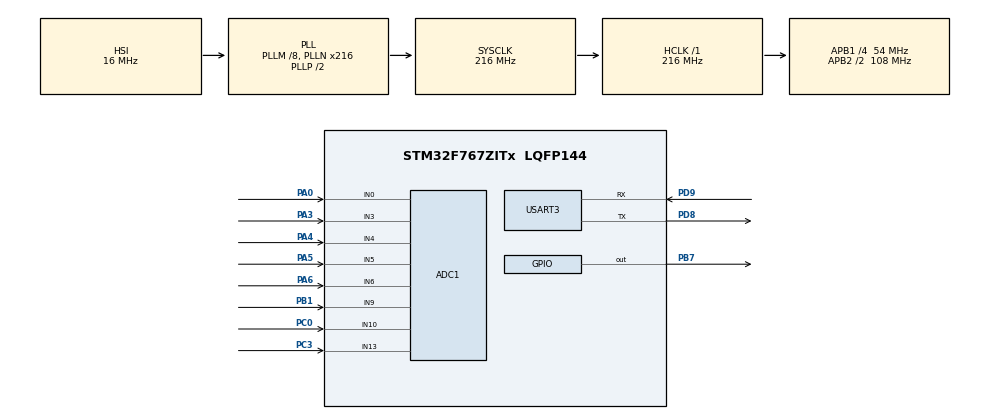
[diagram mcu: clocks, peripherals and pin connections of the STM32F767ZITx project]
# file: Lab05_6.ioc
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ADC1.Channel-0\#ChannelRegularConversion=ADC_CHANNEL_0
ADC1.Channel-1\#ChannelRegularConversion=ADC_CHANNEL_3
ADC1.Channel-2\#ChannelRegularConversion=ADC_CHANNEL_4
ADC1.Channel-3\#ChannelRegularConversion=ADC_CHANNEL_5
ADC1.Channel-4\#ChannelRegularConversion=ADC_CHANNEL_6
ADC1.Channel-5\#ChannelRegularConversion=ADC_CHANNEL_9
ADC1.Channel-6\#ChannelRegularConversion=ADC_CHANNEL_10
ADC1.Channel-7\#ChannelRegularConversion=ADC_CHANNEL_13
ADC1.ClockPrescaler=ADC_CLOCK_SYNC_PCLK_DIV8
ADC1.ContinuousConvMode=ENABLE
ADC1.DMAContinuousRequests=ENABLE
ADC1.DiscontinuousConvMode=DISABLE
ADC1.EOCSelection=ADC_EOC_SINGLE_CONV
ADC1.NbrOfConversion=8
ADC1.NbrOfConversionFlag=1
ADC1.Rank-0\#ChannelRegularConversion=1
ADC1.Rank-1\#ChannelRegularConversion=2
ADC1.Rank-2\#ChannelRegularConversion=3
ADC1.Rank-3\#ChannelRegularConversion=4
ADC1.Rank-4\#ChannelRegularConversion=5
ADC1.Rank-5\#ChannelRegularConversion=6
ADC1.Rank-6\#ChannelRegularConversion=7
ADC1.Rank-7\#ChannelRegularConversion=8
ADC1.SamplingTime-0\#ChannelRegularConversion=ADC_SAMPLETIME_15CYCLES
ADC1.SamplingTime-1\#ChannelRegularConversion=ADC_SAMPLETIME_15CYCLES
ADC1.SamplingTime-2\#ChannelRegularConversion=ADC_SAMPLETIME_15CYCLES
ADC1.SamplingTime-3\#ChannelRegularConversion=ADC_SAMPLETIME_15CYCLES
ADC1.SamplingTime-4\#ChannelRegularConversion=ADC_SAMPLETIME_15CYCLES
ADC1.SamplingTime-5\#ChannelRegularConversion=ADC_SAMPLETIME_15CYCLES
ADC1.SamplingTime-6\#ChannelRegularConversion=ADC_SAMPLETIME_15CYCLES
ADC1.SamplingTime-7\#ChannelRegularConversion=ADC_SAMPLETIME_15CYCLES
ADC1.ScanConvMode=ADC_SCAN_ENABLE
ADC1.master=1
Dma.ADC1.0.Direction=DMA_PERIPH_TO_MEMORY
Dma.ADC1.0.FIFOMode=DMA_FIFOMODE_DISABLE
Dma.ADC1.0.Instance=DMA2_Stream0
Dma.ADC1.0.MemDataAlignment=DMA_MDATAALIGN_WORD
Dma.ADC1.0.MemInc=DMA_MINC_ENABLE
Dma.ADC1.0.Mode=DMA_CIRCULAR
Dma.ADC1.0.PeriphDataAlignment=DMA_PDATAALIGN_WORD
Dma.ADC1.0.PeriphInc=DMA_PINC_DISABLE
Dma.ADC1.0.Priority=DMA_PRIORITY_LOW
Dma.Request0=ADC1
Mcu.Family=STM32F7
Mcu.Name=STM32F767ZITx
Mcu.Package=LQFP144
NVIC.DMA2_Stream0_IRQn=true\:1\:0\:true\:false\:true\:false\:true\:true
NVIC.PriorityGroup=NVIC_PRIORITYGROUP_2
PA0/WKUP.Signal=ADCx_IN0
PA3.Signal=ADCx_IN3
PA4.Signal=ADCx_IN4
PA5.Signal=ADCx_IN5
PA6.Signal=ADCx_IN6
PB1.Signal=ADCx_IN9
PB7.Signal=GPIO_Output
PC0.Signal=ADCx_IN10
PC3.Signal=ADCx_IN13
PD8.Mode=Asynchronous
PD8.Signal=USART3_TX
PD9.Mode=Asynchronous
PD9.Signal=USART3_RX
ProjectManager.HeapSize=0x200
ProjectManager.StackSize=0x400
ProjectManager.TargetToolchain=STM32CubeIDE
RCC.AHBFreq_Value=216000000
RCC.APB1CLKDivider=RCC_HCLK_DIV4
RCC.APB1Freq_Value=54000000
RCC.APB1TimFreq_Value=108000000
RCC.APB2CLKDivider=RCC_HCLK_DIV2
RCC.APB2Freq_Value=108000000
RCC.APB2TimFreq_Value=216000000
RCC.CortexFreq_Value=216000000
RCC.HCLKFreq_Value=216000000
RCC.HSE_VALUE=25000000
RCC.HSI_VALUE=16000000
RCC.LSE_VALUE=32768
RCC.PLLM=8
RCC.PLLN=216
RCC.SYSCLKFreq_VALUE=216000000
RCC.SYSCLKSource=RCC_SYSCLKSOURCE_PLLCLK
RCC.USBFreq_Value=216000000
RCC.VCOOutputFreq_Value=432000000
SH.ADCx_IN0.0=ADC1_IN0,IN0
SH.ADCx_IN10.0=ADC1_IN10,IN10
SH.ADCx_IN13.0=ADC1_IN13,IN13
SH.ADCx_IN3.0=ADC1_IN3,IN3
SH.ADCx_IN4.0=ADC1_IN4,IN4
SH.ADCx_IN5.0=ADC1_IN5,IN5
SH.ADCx_IN6.0=ADC1_IN6,IN6
SH.ADCx_IN9.0=ADC1_IN9,IN9
USART3.VirtualMode-Asynchronous=VM_ASYNC
board=custom

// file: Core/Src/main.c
/* USER CODE BEGIN Header */
/**
  ******************************************************************************
  * @file           : main.c
  * @brief          : Main program body
  ******************************************************************************
  * @attention
  *
  * Copyright (c) 2022 STMicroelectronics.
  * All rights reserved.
  *
  * This software is licensed under terms that can be found in the LICENSE file
  * in the root directory of this software component.
  * If no LICENSE file comes with this software, it is provided AS-IS.
  *
  ******************************************************************************
  */
/* USER CODE END Header */
#include "main.h"
#include "adc.h"
#include "dma.h"
#include "usart.h"
#include "gpio.h"

/* USER CODE BEGIN Includes */
#include "stdio.h"
#include "string.h"
/* USER CODE END Includes */

/* USER CODE BEGIN PV */
volatile uint32_t adc_val[8];

char output[]="a";

uint8_t i=0;

float vin;
char vin1[]="a";
char strCh[]="a";

uint8_t ch[]={0,3,4,5,6,9,10,13};
/* USER CODE END PV */

void SystemClock_Config(void);
/* USER CODE BEGIN PFP */
void displayHEX(uint32_t x,uint8_t i);
void HAL_ADC_ConvHalfCpltCallback(ADC_HandleTypeDef* hadc);
void HAL_ADC_ConvCpltCallback(ADC_HandleTypeDef* hadc);

/* USER CODE END PFP */

int main(void)
{

  /* MCU Configuration--------------------------------------------------------*/

  /* Reset of all peripherals, Initializes the Flash interface and the Systick. */
  HAL_Init();

  /* Configure the system clock */
  SystemClock_Config();

  /* Initialize all configured peripherals */
  MX_GPIO_Init();
  MX_USART3_UART_Init();
  MX_DMA_Init();
  MX_ADC1_Init();
  /* USER CODE BEGIN 2 */
  HAL_ADC_Start_DMA(&hadc1, adc_val, 8);
  /* USER CODE END 2 */

  /* Infinite loop */
  while (1)
  {

  }
}

void SystemClock_Config(void)
{
  RCC_OscInitTypeDef RCC_OscInitStruct = {0};
  RCC_ClkInitTypeDef RCC_ClkInitStruct = {0};

  /** Configure the main internal regulator output voltage
  */
  __HAL_RCC_PWR_CLK_ENABLE();
  __HAL_PWR_VOLTAGESCALING_CONFIG(PWR_REGULATOR_VOLTAGE_SCALE1);

  /** Initializes the RCC Oscillators according to the specified parameters
  * in the RCC_OscInitTypeDef structure.
  */
  RCC_OscInitStruct.OscillatorType = RCC_OSCILLATORTYPE_HSI;
  RCC_OscInitStruct.HSIState = RCC_HSI_ON;
  RCC_OscInitStruct.HSICalibrationValue = RCC_HSICALIBRATION_DEFAULT;
  RCC_OscInitStruct.PLL.PLLState = RCC_PLL_ON;
  RCC_OscInitStruct.PLL.PLLSource = RCC_PLLSOURCE_HSI;
  RCC_OscInitStruct.PLL.PLLM = 8;
  RCC_OscInitStruct.PLL.PLLN = 216;
  RCC_OscInitStruct.PLL.PLLP = RCC_PLLP_DIV2;
  RCC_OscInitStruct.PLL.PLLQ = 2;
  RCC_OscInitStruct.PLL.PLLR = 2;
  if (HAL_RCC_OscConfig(&RCC_OscInitStruct) != HAL_OK)
  {
    Error_Handler();
  }

  /** Activate the Over-Drive mode
  */
  if (HAL_PWREx_EnableOverDrive() != HAL_OK)
  {
    Error_Handler();
  }

  /** Initializes the CPU, AHB and APB buses clocks
  */
  RCC_ClkInitStruct.ClockType = RCC_CLOCKTYPE_HCLK|RCC_CLOCKTYPE_SYSCLK
                              |RCC_CLOCKTYPE_PCLK1|RCC_CLOCKTYPE_PCLK2;
  RCC_ClkInitStruct.SYSCLKSource = RCC_SYSCLKSOURCE_PLLCLK;
  RCC_ClkInitStruct.AHBCLKDivider = RCC_SYSCLK_DIV1;
  RCC_ClkInitStruct.APB1CLKDivider = RCC_HCLK_DIV4;
  RCC_ClkInitStruct.APB2CLKDivider = RCC_HCLK_DIV2;

  if (HAL_RCC_ClockConfig(&RCC_ClkInitStruct, FLASH_LATENCY_7) != HAL_OK)
  {
    Error_Handler();
  }
}

/* USER CODE BEGIN 4 */
void HAL_ADC_ConvHalfCpltCallback(ADC_HandleTypeDef* hadc){
   HAL_GPIO_WritePin(GPIOB,GPIO_PIN_7,1);
   HAL_Delay(100);
}

void HAL_ADC_ConvCpltCallback(ADC_HandleTypeDef* hadc){
   while (__HAL_UART_GET_FLAG(&huart3,UART_FLAG_TC) == RESET);
   HAL_GPIO_WritePin(GPIOB,GPIO_PIN_7,0);
   displayHEX(adc_val[i],ch[i]);
   i++;
   HAL_Delay(500);
   if(i==8){
	  i=0;
	  HAL_UART_Transmit(&huart3, (uint8_t*)"\r\n",2,1000);
   }

}
void displayHEX(uint32_t x,uint8_t i)
{
	sprintf(output,"%08X",x);
	vin =(float)x/4095.0*3.3;

	while(__HAL_UART_GET_FLAG(&huart3,UART_FLAG_TC)==RESET){}
	HAL_UART_Transmit(&huart3, (uint8_t*)"ADC1 CH",7,1000);

	sprintf(strCh,"%d",i);
	HAL_UART_Transmit(&huart3, (uint8_t*)strCh,strlen(strCh),1000);
	HAL_UART_Transmit(&huart3, (uint8_t*)" 0x",3,1000);
	HAL_UART_Transmit(&huart3, (uint8_t*)output,strlen(output),1000);
	HAL_UART_Transmit(&huart3, (uint8_t*)" Vin = ",7,1000);

	sprintf(vin1,"%.2f",vin);
	while(__HAL_UART_GET_FLAG(&huart3,UART_FLAG_TC)==RESET){}
	HAL_UART_Transmit(&huart3, (uint8_t*)vin1,strlen(vin1),1000);
	HAL_UART_Transmit(&huart3, (uint8_t*)" V\r\n",4,1000);

}
/* USER CODE END 4 */

void Error_Handler(void)
{
  __disable_irq();
  while (1)
  {
  }
}
